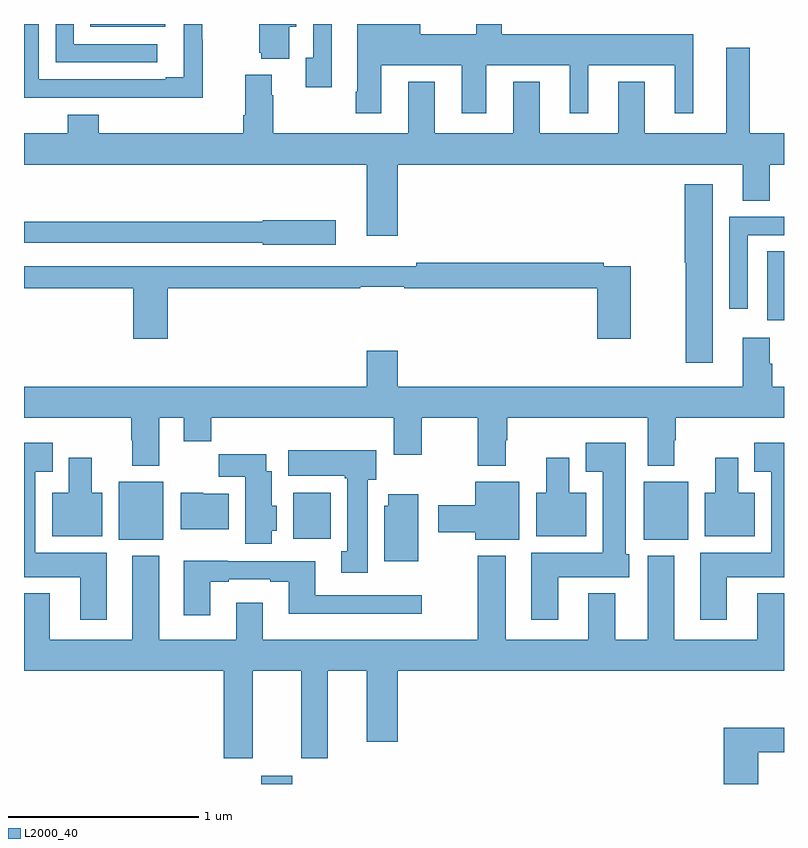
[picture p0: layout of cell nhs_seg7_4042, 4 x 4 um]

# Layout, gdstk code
import gdstk
lib = gdstk.Library(unit=1e-6, precision=1e-09)
def R(c, l, rs):  # rectangles x0, y0, x1, y1
    for r in rs: c.add(gdstk.rectangle(r[:2], r[2:], *l))
def P(c, l, *ps):  # polygons
    for p in ps: c.add(gdstk.Polygon(p, *l))
L2000_40 = (2000, 40)

nhs_seg7_4042 = lib.new_cell('nhs_seg7_4042')
R(nhs_seg7_4042, L2000_40, [(368.249,1020,368.413,1020.043), (367.499,1021.286,367.732,1021.591), (370.262,1021.286,370.495,1021.591), (368.417,1021.292,368.614,1021.534), (370.913,1022.442,371,1022.804), (367.348,1023.986,367.744,1024)])
P(nhs_seg7_4042, L2000_40, [(368.395,1023.986),(368.434,1023.986),(368.434,1024),(368.237,1024),(368.237,1023.849),(368.249,1023.849),(368.249,1023.818),(368.395,1023.818)],
  [(368.62,1024),(368.523,1024),(368.523,1023.822),(368.483,1023.822),(368.483,1023.666),(368.62,1023.666)],
  [(367.941,1023.917),(367.938,1023.917),(367.938,1024),(367.842,1024),(367.842,1023.721),(367.745,1023.721),(367.745,1023.708),(367.077,1023.708),(367.077,1024),(367,1024),(367,1023.612),(367.477,1023.612),(367.477,1023.611),(367.941,1023.611)],
  [(367.702,1023.894),(367.263,1023.894),(367.263,1024),(367.167,1024),(367.167,1023.798),(367.702,1023.798)],
  [(368.881,1023.782),(369.305,1023.782),(369.305,1023.531),(369.433,1023.531),(369.433,1023.782),(369.872,1023.782),(369.872,1023.531),(369.97,1023.531),(369.97,1023.782),(370.424,1023.782),(370.424,1023.531),(370.522,1023.531),(370.522,1023.946),(369.515,1023.946),(369.515,1024),(369.38,1024),(369.38,1023.946),(369.085,1023.946),(369.085,1024),(368.753,1024),(368.753,1023.643),(368.746,1023.643),(368.746,1023.531),(368.881,1023.531)],
  [(368.968,1023.26),(370.784,1023.26),(370.784,1023.07),(370.924,1023.07),(370.924,1023.26),(371,1023.26),(371,1023.424),(370.819,1023.424),(370.819,1023.874),(370.697,1023.874),(370.697,1023.424),(370.267,1023.424),(370.267,1023.697),(370.127,1023.697),(370.127,1023.424),(369.715,1023.424),(369.715,1023.697),(369.575,1023.697),(369.575,1023.424),(369.163,1023.424),(369.163,1023.697),(369.023,1023.697),(369.023,1023.424),(368.313,1023.424),(368.313,1023.626),(368.305,1023.626),(368.305,1023.733),(368.165,1023.733),(368.165,1023.52),(368.153,1023.52),(368.153,1023.424),(367.394,1023.424),(367.394,1023.523),(367.229,1023.523),(367.229,1023.424),(367,1023.424),(367,1023.26),(368.804,1023.26),(368.804,1022.886),(368.968,1022.886)],
  [(370.624,1023.157),(370.478,1023.157),(370.478,1022.744),(370.483,1022.744),(370.483,1022.217),(370.624,1022.217)],
  [(370.809,1022.889),(371,1022.889),(371,1022.985),(370.713,1022.985),(370.713,1022.502),(370.809,1022.502)],
  [(368.641,1022.967),(368.256,1022.967),(368.256,1022.959),(367,1022.959),(367,1022.85),(368.256,1022.85),(368.256,1022.837),(368.641,1022.837)],
  [(367.757,1022.608),(368.771,1022.608),(368.771,1022.616),(369.001,1022.616),(369.001,1022.608),(370.016,1022.608),(370.016,1022.343),(370.194,1022.343),(370.194,1022.724),(370.052,1022.724),(370.052,1022.744),(369.064,1022.744),(369.064,1022.725),(368.808,1022.725),(368.808,1022.724),(367,1022.724),(367,1022.608),(367.574,1022.608),(367.574,1022.343),(367.757,1022.343)],
  [(367.711,1021.928),(367.841,1021.928),(367.841,1021.804),(367.985,1021.804),(367.985,1021.928),(368.945,1021.928),(368.945,1021.734),(369.093,1021.734),(369.093,1021.928),(369.388,1021.928),(369.388,1021.676),(369.535,1021.676),(369.535,1021.808),(369.543,1021.808),(369.543,1021.928),(370.283,1021.928),(370.283,1021.676),(370.423,1021.676),(370.423,1021.808),(370.431,1021.808),(370.431,1021.928),(371,1021.928),(371,1022.092),(370.937,1022.092),(370.937,1022.213),(370.924,1022.213),(370.924,1022.35),(370.784,1022.35),(370.784,1022.092),(368.968,1022.092),(368.968,1022.281),(368.804,1022.281),(368.804,1022.092),(367,1022.092),(367,1021.928),(367.564,1021.928),(367.564,1021.808),(367.571,1021.808),(367.571,1021.676),(367.711,1021.676)],
  [(367.435,1021.216),(367.06,1021.216),(367.06,1021.643),(367.15,1021.643),(367.15,1021.795),(367,1021.795),(367,1021.088),(367.295,1021.088),(367.295,1020.864),(367.435,1020.864)],
  [(369.811,1021.088),(370.186,1021.088),(370.186,1021.209),(370.168,1021.209),(370.168,1021.795),(369.956,1021.795),(369.956,1021.643),(370.046,1021.643),(370.046,1021.216),(369.671,1021.216),(369.671,1020.864),(369.811,1020.864)],
  [(370.699,1021.088),(371,1021.088),(371,1021.795),(370.844,1021.795),(370.844,1021.643),(370.934,1021.643),(370.934,1021.216),(370.559,1021.216),(370.559,1020.864),(370.699,1020.864)],
  [(368.809,1021.602),(368.854,1021.602),(368.854,1021.756),(368.39,1021.756),(368.39,1021.622),(368.689,1021.622),(368.689,1021.609),(368.702,1021.609),(368.702,1021.226),(368.669,1021.226),(368.669,1021.113),(368.809,1021.113)],
  [(368.305,1021.332),(368.329,1021.332),(368.329,1021.464),(368.305,1021.464),(368.305,1021.645),(368.275,1021.645),(368.275,1021.735),(368.026,1021.735),(368.026,1021.616),(368.165,1021.616),(368.165,1021.265),(368.305,1021.265)],
  [(370.846,1021.534),(370.759,1021.534),(370.759,1021.717),(370.637,1021.717),(370.637,1021.534),(370.583,1021.534),(370.583,1021.304),(370.846,1021.304)],
  [(367.411,1021.534),(367.357,1021.534),(367.357,1021.717),(367.235,1021.717),(367.235,1021.534),(367.148,1021.534),(367.148,1021.304),(367.411,1021.304)],
  [(369.958,1021.534),(369.871,1021.534),(369.871,1021.717),(369.749,1021.717),(369.749,1021.534),(369.695,1021.534),(369.695,1021.304),(369.958,1021.304)],
  [(369.607,1021.591),(369.374,1021.591),(369.374,1021.467),(369.18,1021.467),(369.18,1021.325),(369.374,1021.325),(369.374,1021.286),(369.607,1021.286)],
  [(368.077,1021.528),(367.944,1021.528),(367.944,1021.534),(367.826,1021.534),(367.826,1021.34),(368.077,1021.34)],
  [(369.076,1021.525),(368.918,1021.525),(368.918,1021.464),(368.897,1021.464),(368.897,1021.172),(369.076,1021.172)],
  [(368.257,1020.955),(368.117,1020.955),(368.117,1020.76),(367.711,1020.76),(367.711,1021.201),(367.571,1021.201),(367.571,1020.76),(367.135,1020.76),(367.135,1021.003),(367,1021.003),(367,1020.596),(368.051,1020.596),(368.051,1020.135),(368.203,1020.135),(368.203,1020.596),(368.459,1020.596),(368.459,1020.135),(368.599,1020.135),(368.599,1020.596),(368.804,1020.596),(368.804,1020.222),(368.968,1020.222),(368.968,1020.596),(371,1020.596),(371,1021.003),(370.859,1021.003),(370.859,1020.76),(370.423,1020.76),(370.423,1021.201),(370.283,1021.201),(370.283,1020.76),(370.111,1020.76),(370.111,1021.003),(369.971,1021.003),(369.971,1020.76),(369.535,1020.76),(369.535,1021.201),(369.388,1021.201),(369.388,1020.76),(368.257,1020.76)],
  [(367.981,1021.065),(368.077,1021.065),(368.077,1021.077),(368.297,1021.077),(368.297,1021.065),(368.393,1021.065),(368.393,1020.896),(369.094,1020.896),(369.094,1020.993),(368.533,1020.993),(368.533,1021.173),(368.073,1021.173),(368.073,1021.174),(367.841,1021.174),(367.841,1020.888),(367.981,1020.888)],
  [(370.865,1020.166),(371,1020.166),(371,1020.295),(370.682,1020.295),(370.682,1020),(370.865,1020)])

lib.write_gds('nhs_seg7_4042.gds')
